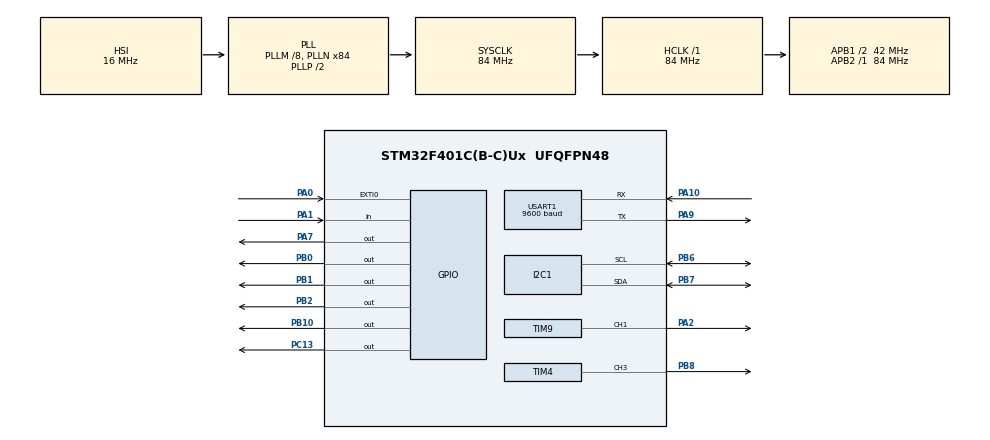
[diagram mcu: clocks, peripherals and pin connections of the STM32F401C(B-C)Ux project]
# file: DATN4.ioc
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Mcu.Family=STM32F4
Mcu.Name=STM32F401C(B-C)Ux
Mcu.Package=UFQFPN48
NVIC.EXTI0_IRQn=true\:0\:0\:false\:false\:true\:true\:true
NVIC.PriorityGroup=NVIC_PRIORITYGROUP_4
NVIC.TIM1_UP_TIM10_IRQn=true\:0\:0\:false\:false\:true\:true\:true
PA0-WKUP.Signal=GPXTI0
PA1.Signal=GPIO_Input
PA10.Mode=Asynchronous
PA10.Signal=USART1_RX
PA2.Signal=S_TIM9_CH1
PA7.Signal=GPIO_Output
PA9.Mode=Asynchronous
PA9.Signal=USART1_TX
PB0.Signal=GPIO_Output
PB1.Signal=GPIO_Output
PB10.Signal=GPIO_Output
PB2.Signal=GPIO_Output
PB6.Mode=I2C
PB6.Signal=I2C1_SCL
PB7.Mode=I2C
PB7.Signal=I2C1_SDA
PB8.Signal=S_TIM4_CH3
PC13-ANTI_TAMP.Signal=GPIO_Output
PH0\ -\ OSC_IN.Mode=HSE-External-Oscillator
PH0\ -\ OSC_IN.Signal=RCC_OSC_IN
PH1\ -\ OSC_OUT.Mode=HSE-External-Oscillator
PH1\ -\ OSC_OUT.Signal=RCC_OSC_OUT
ProjectManager.HeapSize=0x200
ProjectManager.StackSize=0x400
ProjectManager.TargetToolchain=MDK-ARM V5.27
RCC.48MHZClocksFreq_Value=42000000
RCC.AHBFreq_Value=84000000
RCC.APB1CLKDivider=RCC_HCLK_DIV2
RCC.APB1Freq_Value=42000000
RCC.APB1TimFreq_Value=84000000
RCC.APB2Freq_Value=84000000
RCC.APB2TimFreq_Value=84000000
RCC.CortexFreq_Value=84000000
RCC.HCLKFreq_Value=84000000
RCC.HSE_VALUE=25000000
RCC.HSI_VALUE=16000000
RCC.LSE_VALUE=32768
RCC.PLLM=8
RCC.PLLN=84
RCC.SYSCLKFreq_VALUE=84000000
RCC.SYSCLKSource=RCC_SYSCLKSOURCE_PLLCLK
RCC.VCOOutputFreq_Value=168000000
SH.S_TIM4_CH3.0=TIM4_CH3,PWM Generation3 CH3
SH.S_TIM9_CH1.0=TIM9_CH1,PWM Generation1 CH1
TIM10.AutoReloadPreload=TIM_AUTORELOAD_PRELOAD_ENABLE
TIM10.Period=99
TIM10.Prescaler=8400
TIM4.Channel-PWM\ Generation3\ CH3=TIM_CHANNEL_3
TIM4.Period=999
TIM4.Prescaler=19
TIM9.Channel-PWM\ Generation1\ CH1=TIM_CHANNEL_1
TIM9.Period=999
TIM9.Prescaler=19
USART1.BaudRate=9600
USART1.VirtualMode=VM_ASYNC
VP_TIM10_VS_ClockSourceINT.Mode=Enable_Timer
VP_TIM4_VS_ClockSourceINT.Mode=Internal
VP_TIM9_VS_ClockSourceINT.Mode=Internal
board=custom

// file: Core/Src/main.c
/* USER CODE BEGIN Header */
/**
  ******************************************************************************
  * @file           : main.c
  * @brief          : Main program body
  ******************************************************************************
  * @attention
  *
  * <h2><center>&copy; Copyright (c) 2021 STMicroelectronics.
  * All rights reserved.</center></h2>
  *
  * This software component is licensed by ST under BSD 3-Clause license,
  * the "License"; You may not use this file except in compliance with the
  * License. You may obtain a copy of the License at:
  *                        opensource.org/licenses/BSD-3-Clause
  *
  ******************************************************************************
  */
/* USER CODE END Header */
#include "main.h"

/* USER CODE BEGIN Includes */
#include "stdio.h"
#include "stdlib.h"
#include "math.h"
/* USER CODE END Includes */

/* USER CODE BEGIN PD */

   /*MPU6050_REGISTERS*/
#define MPU6050_ADDR 0xD0     /*Decive Addr*/
#define SMPLRT_DIV_REG 0x19   /*1khz*/
#define GYRO_CONFIG_REG 0x1B  /*Cau hinh Gryro*/
#define ACCEL_CONFIG_REG 0x1C /*Cau hinh Acc*/
#define ACCEL_XOUT_H_REG 0x3B
#define GYRO_XOUT_H_REG 0x43
#define PWR_MGMT_1_REG 0x6B    /*Wake up*/
#define WHO_AM_I_REG 0x75     /*check device*/

/* USER CODE END PD */

I2C_HandleTypeDef hi2c1;

TIM_HandleTypeDef htim4;
TIM_HandleTypeDef htim9;
TIM_HandleTypeDef htim10;

UART_HandleTypeDef huart1;

void SystemClock_Config(void);
static void MX_GPIO_Init(void);
static void MX_TIM9_Init(void);
static void MX_TIM10_Init(void);
static void MX_I2C1_Init(void);
static void MX_USART1_UART_Init(void);
static void MX_TIM4_Init(void);
/* USER CODE BEGIN PFP */
   /*Bluetooth Var*/
	char snum[4];
	char snum1[4];
	char str[] = { "/" };

   /*READ_DATA_MPU_VAR*/
int16_t Accel_X_RAW = 0 ;
int16_t Accel_Y_RAW = 0;
int16_t Accel_Z_RAW = 0;

int16_t Gyro_X_RAW = 0;
int16_t Gyro_Y_RAW = 0;
int16_t Gyro_Z_RAW = 0;

float Gx, Gy, Gz;
float Ax, Ay, Az;

float angle_roll_acc, angle_pitch_acc;

   /*KALMAN_FITLER*/
float Q_angle = 0.001;
float Q_gyro = 0.003;
float R_angle = 0.5;
char C_0 = 1;
float dt = 0.01; // sampling time 10ms
float K1 = 0.05;

float K_0,K_1,t_0,t_1;
float angle_err;
float gyro_bias;    // Gyroscope Drift
float angle;

float Pdot[4] = { 0, 0, 0, 0};
float P[2][2] = {{ 1, 0 }, { 0, 1 }};
float  PCt_0, PCt_1, E;

 /*KALMAN_FITLER_2*/
float K_0_x,K_1_x,t_0_x,t_1_x;
float angle_err1;
float gyro_bias1;    // Gyroscope Drift

float angle1;

float Pdot_1[4] = { 0, 0, 0, 0};
float P_1[2][2] = {{ 1, 0 }, { 0, 1 }};
float  PCt_0x, PCt_1x, Ex;

   /*PID ANGEL CONTROL*/
int PID_PWM_ANGEL;
int PID_PWM_ANGEL1;

float ErrorA;
float Pre_ErrorA;

float ErrorA1;
float Pre_ErrorA1;

float I_part_angel;
float I_part_angel1;

      /*Sampling time*/
#define sammpling_time_angel  0.01f;
#define inv_sammpling_time_angel 100;

#define sammpling_time_speed 0.04f
#define inv_sammpling_time_speed  25;

      /* PID Angel*/
float Set_Angel =	-3.1; //5.1

float Kp_Angel = 125  	;  //dc1: 360
float Ki_Angel = 	0.01;
float Kd_Angel = -0.02;//0.27

float Set_Speed = 0;

float Kp_Speed = 22;   //dc1: 120  //dc2: 110
float Ki_Speed = 	12;  //5
float Kd_Speed = 	0.0001;

/*********************************************************/

    /*PID Whell*/
float Set_Angel1 = -0.5;
float Kp_Angel1 = 90;
float Ki_Angel1 = 0.0001;
float Kd_Angel1 = 0.04;

/*********************************************************/

   /*SPEED VAR*/
int rw = 0;
int pulseCount = 0;

int Pulse;
int rwPulse;

float speeds_filterold=0;
float speeds_filter;
float Speed;

float I_part_speed;
float Pre_ErrorSP;
float ErrorSP;

int PID_PWM_SPEED;

   /*PWM OUTPUT*/
int cl;

int PWM_OUT ;
int RE_PWM_OUT ;

int PWM_OUT1 ;
int RE_PWM_OUT1 ;

uint8_t  receive_data;
/* USER CODE END PFP */

/* USER CODE BEGIN 0 */

    /*READ DATA*/
void MPU6050_Init (void)
  {
	uint8_t check;
	uint8_t Data;

	HAL_I2C_Mem_Read (&hi2c1, MPU6050_ADDR,WHO_AM_I_REG,1, &check, 1, 1000); //check cam bien

	if (check == 0x68) //dia chi co ban cua cam bien 0x68( 110100X x lа muc logic tai chan AD0)
	{
		Data = 0x00;
		HAL_I2C_Mem_Write(&hi2c1, MPU6050_ADDR, PWR_MGMT_1_REG, 1,&Data, 1, 1000); // Danh thuc thiet bi

		Data = 0x07;
		HAL_I2C_Mem_Write(&hi2c1, MPU6050_ADDR, SMPLRT_DIV_REG, 1, &Data, 1, 1000); // cau hinh tan so trich mau tu cam bien ve thanh ghi (1Khz)

		Data = 0x00;
		HAL_I2C_Mem_Write(&hi2c1, MPU6050_ADDR, ACCEL_CONFIG_REG, 1, &Data, 1, 1000); //cau hinh cam bien gia toc ke.

		Data = 0x00;
		HAL_I2C_Mem_Write(&hi2c1, MPU6050_ADDR, GYRO_CONFIG_REG, 1, &Data, 1, 1000); // cau hinh con quay hoi chuyen.

		 HAL_GPIO_WritePin(GPIOC, GPIO_PIN_13, GPIO_PIN_RESET);
	}
}

void MPU6050_Read_Data (void) /*note*/
{

	uint8_t Rec_Data_Acc[6];
	HAL_I2C_Mem_Read (&hi2c1, MPU6050_ADDR, ACCEL_XOUT_H_REG, 1, Rec_Data_Acc, 6, 1000);

	Accel_X_RAW = (int16_t)(Rec_Data_Acc[0] << 8 | Rec_Data_Acc [1]);
	Accel_Y_RAW = (int16_t)(Rec_Data_Acc[2] << 8 | Rec_Data_Acc [3]);
	Accel_Z_RAW = (int16_t)(Rec_Data_Acc[4] << 8 | Rec_Data_Acc [5]);

	Ax = Accel_X_RAW/16384.0; /*Datasheet*/
	Ay = Accel_Y_RAW/16384.0;
	Az = Accel_Z_RAW/16384.0;

	uint8_t Rec_Data_1_Gyro[6];
	HAL_I2C_Mem_Read (&hi2c1, MPU6050_ADDR, GYRO_XOUT_H_REG, 1, Rec_Data_1_Gyro, 6, 1000);

	Gyro_X_RAW = (int16_t)(Rec_Data_1_Gyro[0] << 8 | Rec_Data_1_Gyro [1]);
	Gyro_Y_RAW = (int16_t)(Rec_Data_1_Gyro[2] << 8 | Rec_Data_1_Gyro [3]);
	Gyro_Z_RAW = (int16_t)(Rec_Data_1_Gyro[4] << 8 | Rec_Data_1_Gyro [5]);

	Gx =  Gyro_X_RAW/131.0;
	Gy =  Gyro_Y_RAW/131.0;

}

/**/
/**/

   /*KALMAN FILTER*/
void Kalman_Filter(double angle_m, double gyro_m)
{
		/*ESTIMATES PERIOD*/
	angle += (gyro_m - gyro_bias) * dt;   /*Cap nhat goc uoc luong ban dau*/

	P[0][0] += (Q_angle - P[0][1] - P[1][0]) * dt; /*Du doan buoc dau ma tran covariance, ma tran dac trung cho kha nang du doan sai so*/
  P[0][1] -= P[1][1] * dt;
  P[1][0] -= P[1][1] * dt;
  P[1][1] += Q_gyro * dt;

	  /*UPDATE KALMAN FILTER VALUE*/
  angle_err = angle_m - angle; /*Tinh sai so goc uoc luong dua vao goc cam bien vs goc uoc luong truoc*/

  E = R_angle + P[0][0];  /*Uoc tinh sai so co the xay ra*/

	PCt_0 = C_0 * P[0][0];
  PCt_1 = C_0 * P[1][0];

  K_0 = PCt_0 / E;
  K_1 = PCt_1 / E;

  t_0 = P[0][0];
  t_1 = P[0][1];

  P[0][0] -= K_0 * t_0;  /*Cap nhat uoc tinh ma tran covariance*/
  P[0][1] -= K_0 * t_1;
  P[1][0] -= K_1 * t_0;
  P[1][1] -= K_1 * t_1;

  angle += K_0 * angle_err;     /*Cap nhat lai goc uoc luong sau loc.*/
	gyro_bias += K_1 * angle_err; /*Cap nhat lai sai so gyro_bias (giua gia tri do va gia tri dung nhat). */

}

void Kalman_Filter_1(double angle_m, double gyro_m)
{
		/*ESTIMATES PERIOD*/
	angle1 += (gyro_m - gyro_bias1) * dt;

  P_1[0][0] +=  ( Q_angle - P_1[0][1] - P_1[1][0] ) * dt;
  P_1[0][1] -=  P_1[1][1] * dt;
  P_1[1][0] -=  P_1[1][1] * dt;
  P_1[1][1] +=  Q_gyro * dt;

	 /*UPDATE KALMAN FILTER VALUE*/
	angle_err1 = angle_m - angle1;

  Ex = R_angle + P_1[0][0];

	PCt_0x = C_0 * P_1[0][0];
  PCt_1x = C_0 * P_1[1][0];

  K_0_x = PCt_0x / Ex;
  K_1_x = PCt_1x / Ex;

  t_0_x = P_1[0][0];
  t_1_x = P_1[0][1];

  P_1[0][0] -= K_0_x * t_0_x;
  P_1[0][1] -= K_0_x * t_1_x;
  P_1[1][0] -= K_1_x * t_0_x;
  P_1[1][1] -= K_1_x * t_1_x;

	angle1 += K_0_x * angle_err1;
  gyro_bias1 += K_1_x * angle_err1;
}
/**/
/**/

   /*Caculate Angel*/
void Angle_Aalculate(void)
{
	 angle_pitch_acc = -atan((float)Ax / Az) * 57.296; // Y
	 angle_roll_acc = atan((float)Ay /  Az) * 57.296; //X

   Kalman_Filter( angle_pitch_acc, Gy);
   Kalman_Filter_1( angle_roll_acc, Gx);
}
/**/
/**/

   /*PD Control*/
void PID_Angel_Control(void)
{
	ErrorA = Set_Angel - angle; /*Ti le*/
	/*****/
	I_part_angel = I_part_angel + ErrorA * sammpling_time_angel; /*Tich phan*/
	/*****/
  PID_PWM_ANGEL = ( Kp_Angel*ErrorA )  + ( Ki_Angel*I_part_angel) + Kd_Angel*( ErrorA - Pre_ErrorA) * inv_sammpling_time_angel;
	/*****/
	Pre_ErrorA = ErrorA;
}

void PID_Control_wheel(void)
{

  ErrorA1 = Set_Angel1 - angle1;
	/*****/
	I_part_angel1 = I_part_angel1 + ErrorA1 * sammpling_time_angel;
	/*****/
  PID_PWM_ANGEL1 = ( Kp_Angel1*ErrorA1)  + ( Ki_Angel1*I_part_angel1) + Kd_Angel1*( ErrorA1 - Pre_ErrorA1) * inv_sammpling_time_angel;
	/*****/
	Pre_ErrorA1 = ErrorA1;

	if( PID_PWM_ANGEL1 > 999 ) PID_PWM_ANGEL1 = 999;
	else if( PID_PWM_ANGEL1 < -999 ) PID_PWM_ANGEL1 = -999;
}
/**/
/**/

    /*SPEED*/
void Count_Pulse(void)  // theo chu ky PID speed (tong do lech xung cua 4 lan lay mau)
{
  rwPulse += Pulse;
  Pulse = 0;
}
void PID_Speed_Control(void)
{
   Speed = rwPulse * 6.8181;
/* xung/40ms * 25 = xung/1s

	xung1/s * 60 = xung/phut

	xung/phut chia do phan giai = vong/phut.

	(rwPulse * 25 * 60) / 220 = vong / phut.

	25*60/220 = 6.8181 => rwPulse * 6.8181 = vong / phut
*/
  rwPulse = 0;

  speeds_filter = ( speeds_filterold * 0.7f ) + ( Speed * 0.3f );
  speeds_filterold = speeds_filter;

	ErrorSP = Set_Speed - speeds_filter;

	I_part_speed = I_part_speed + (Set_Speed - speeds_filter) * sammpling_time_speed ;

	PID_PWM_SPEED = ( Kp_Speed * ErrorSP ) + ( Ki_Speed * I_part_speed ) + Kd_Speed*( ErrorSP - Pre_ErrorSP )* inv_sammpling_time_speed;

	Pre_ErrorSP = ErrorSP;
}

/**/
/**/

   /*PWM OUTPUT*/
void PWM_OUTPUT(void)
{
   PWM_OUT = PID_PWM_ANGEL  +  PID_PWM_SPEED;

	 if( PWM_OUT > 0)
		{
		HAL_GPIO_WritePin(GPIOB, GPIO_PIN_1, GPIO_PIN_SET);
		HAL_GPIO_WritePin(GPIOB, GPIO_PIN_0, GPIO_PIN_RESET);
	  if(PWM_OUT > 999) PWM_OUT = 999;
	  __HAL_TIM_SetCompare(&htim9, TIM_CHANNEL_1, PWM_OUT );
		}
	else if(PWM_OUT < 0)
		{
		RE_PWM_OUT = -PWM_OUT;
		HAL_GPIO_WritePin(GPIOB, GPIO_PIN_1, GPIO_PIN_RESET);
		HAL_GPIO_WritePin(GPIOB, GPIO_PIN_0, GPIO_PIN_SET);
	  if (RE_PWM_OUT > 999 ) RE_PWM_OUT = 999;
		__HAL_TIM_SetCompare(&htim9, TIM_CHANNEL_1, RE_PWM_OUT);
		}
}

void PWM_OUTPUT_wheel(void)
{
   PWM_OUT1 =  PID_PWM_ANGEL1;

	 if( PWM_OUT1 > 0)
		{
		HAL_GPIO_WritePin(GPIOB, GPIO_PIN_10, GPIO_PIN_SET);
		HAL_GPIO_WritePin(GPIOB, GPIO_PIN_2, GPIO_PIN_RESET);
	  if(PWM_OUT1 > 999) PWM_OUT1 = 999;
	  __HAL_TIM_SetCompare(&htim4, TIM_CHANNEL_3, PWM_OUT1 );
		}
	else if(PWM_OUT1 < 0)
		{
		RE_PWM_OUT1 = -PWM_OUT1;
		HAL_GPIO_WritePin(GPIOB, GPIO_PIN_10, GPIO_PIN_RESET);
		HAL_GPIO_WritePin(GPIOB, GPIO_PIN_2, GPIO_PIN_SET);
	  if (RE_PWM_OUT1 > 999 ) RE_PWM_OUT1 = 999;
		__HAL_TIM_SetCompare(&htim4, TIM_CHANNEL_3, RE_PWM_OUT1);
		}
}
/**/
/**/

    /*Bluetooth*/
void Bluetooth_SPP(void)
{
    HAL_UART_Receive(&huart1,&receive_data,sizeof(receive_data),100);

		if( receive_data == 'A' && receive_data != 'C' )
		{
		Set_Speed = -3;
    }
	  if( receive_data == 'B' && receive_data != 'C' )
		{
	    Set_Speed = 3;
    }
		if( receive_data == 'C' && receive_data != 'B' && receive_data != 'A')
		{
	    Set_Speed  = 0  ;
    }

		sprintf(snum,"%f",Speed);
    HAL_UART_Transmit(&huart1,(uint8_t *)&snum,sizeof(Speed),100);
    HAL_UART_Transmit(&huart1,(uint8_t *)&str,sizeof(str),100);

		sprintf(snum1,"%f",angle);
    HAL_UART_Transmit(&huart1,(uint8_t *)&snum1,sizeof(snum1),100);
		HAL_UART_Transmit(&huart1,(uint8_t *)&str,sizeof(str),100);
}

/* USER CODE END 0 */

int main(void)
{

  /* MCU Configuration--------------------------------------------------------*/

  /* Reset of all peripherals, Initializes the Flash interface and the Systick. */
  HAL_Init();

  /* Configure the system clock */
  SystemClock_Config();

  /* Initialize all configured peripherals */
  MX_GPIO_Init();
  MX_TIM9_Init();
  MX_TIM10_Init();
  MX_I2C1_Init();
  MX_USART1_UART_Init();
  MX_TIM4_Init();
  /* USER CODE BEGIN 2 */
	MPU6050_Init();

  HAL_TIM_Base_Start_IT(&htim10);

	HAL_TIM_PWM_Start(&htim4, TIM_CHANNEL_3);
	HAL_TIM_PWM_Start(&htim9, TIM_CHANNEL_1);

//	HAL_UART_Receive_DMA(&huart1,&receive_data,1);

  /* USER CODE END 2 */

  /* Infinite loop */
  while (1)
  {

    /* USER CODE BEGIN 3 */
	 Bluetooth_SPP();  HAL_Delay(300);

	 if(angle > 45 || angle < -45 || angle1 > 45 || angle1 < -45 )
	 {
	 HAL_GPIO_WritePin(GPIOA, GPIO_PIN_7, GPIO_PIN_RESET);
	 }
	 else HAL_GPIO_WritePin(GPIOA, GPIO_PIN_7, GPIO_PIN_SET);
  }
  /* USER CODE END 3 */
}

void SystemClock_Config(void)
{
  RCC_OscInitTypeDef RCC_OscInitStruct = {0};
  RCC_ClkInitTypeDef RCC_ClkInitStruct = {0};

  /** Configure the main internal regulator output voltage
  */
  __HAL_RCC_PWR_CLK_ENABLE();
  __HAL_PWR_VOLTAGESCALING_CONFIG(PWR_REGULATOR_VOLTAGE_SCALE2);
  /** Initializes the RCC Oscillators according to the specified parameters
  * in the RCC_OscInitTypeDef structure.
  */
  RCC_OscInitStruct.OscillatorType = RCC_OSCILLATORTYPE_HSI;
  RCC_OscInitStruct.HSIState = RCC_HSI_ON;
  RCC_OscInitStruct.HSICalibrationValue = RCC_HSICALIBRATION_DEFAULT;
  RCC_OscInitStruct.PLL.PLLState = RCC_PLL_ON;
  RCC_OscInitStruct.PLL.PLLSource = RCC_PLLSOURCE_HSI;
  RCC_OscInitStruct.PLL.PLLM = 8;
  RCC_OscInitStruct.PLL.PLLN = 84;
  RCC_OscInitStruct.PLL.PLLP = RCC_PLLP_DIV2;
  RCC_OscInitStruct.PLL.PLLQ = 4;
  if (HAL_RCC_OscConfig(&RCC_OscInitStruct) != HAL_OK)
  {
    Error_Handler();
  }
  /** Initializes the CPU, AHB and APB buses clocks
  */
  RCC_ClkInitStruct.ClockType = RCC_CLOCKTYPE_HCLK|RCC_CLOCKTYPE_SYSCLK
                              |RCC_CLOCKTYPE_PCLK1|RCC_CLOCKTYPE_PCLK2;
  RCC_ClkInitStruct.SYSCLKSource = RCC_SYSCLKSOURCE_PLLCLK;
  RCC_ClkInitStruct.AHBCLKDivider = RCC_SYSCLK_DIV1;
  RCC_ClkInitStruct.APB1CLKDivider = RCC_HCLK_DIV2;
  RCC_ClkInitStruct.APB2CLKDivider = RCC_HCLK_DIV1;

  if (HAL_RCC_ClockConfig(&RCC_ClkInitStruct, FLASH_LATENCY_2) != HAL_OK)
  {
    Error_Handler();
  }
}

static void MX_I2C1_Init(void)
{

  hi2c1.Instance = I2C1;
  hi2c1.Init.ClockSpeed = 100000;
  hi2c1.Init.DutyCycle = I2C_DUTYCYCLE_2;
  hi2c1.Init.OwnAddress1 = 0;
  hi2c1.Init.AddressingMode = I2C_ADDRESSINGMODE_7BIT;
  hi2c1.Init.DualAddressMode = I2C_DUALADDRESS_DISABLE;
  hi2c1.Init.OwnAddress2 = 0;
  hi2c1.Init.GeneralCallMode = I2C_GENERALCALL_DISABLE;
  hi2c1.Init.NoStretchMode = I2C_NOSTRETCH_DISABLE;
  if (HAL_I2C_Init(&hi2c1) != HAL_OK)
  {
    Error_Handler();
  }

}

static void MX_TIM4_Init(void)
{

  TIM_ClockConfigTypeDef sClockSourceConfig = {0};
  TIM_MasterConfigTypeDef sMasterConfig = {0};
  TIM_OC_InitTypeDef sConfigOC = {0};

  htim4.Instance = TIM4;
  htim4.Init.Prescaler = 19;
  htim4.Init.CounterMode = TIM_COUNTERMODE_UP;
  htim4.Init.Period = 999;
  htim4.Init.ClockDivision = TIM_CLOCKDIVISION_DIV1;
  htim4.Init.AutoReloadPreload = TIM_AUTORELOAD_PRELOAD_DISABLE;
  if (HAL_TIM_Base_Init(&htim4) != HAL_OK)
  {
    Error_Handler();
  }
  sClockSourceConfig.ClockSource = TIM_CLOCKSOURCE_INTERNAL;
  if (HAL_TIM_ConfigClockSource(&htim4, &sClockSourceConfig) != HAL_OK)
  {
    Error_Handler();
  }
  if (HAL_TIM_PWM_Init(&htim4) != HAL_OK)
  {
    Error_Handler();
  }
  sMasterConfig.MasterOutputTrigger = TIM_TRGO_RESET;
  sMasterConfig.MasterSlaveMode = TIM_MASTERSLAVEMODE_DISABLE;
  if (HAL_TIMEx_MasterConfigSynchronization(&htim4, &sMasterConfig) != HAL_OK)
  {
    Error_Handler();
  }
  sConfigOC.OCMode = TIM_OCMODE_PWM1;
  sConfigOC.Pulse = 0;
  sConfigOC.OCPolarity = TIM_OCPOLARITY_HIGH;
  sConfigOC.OCFastMode = TIM_OCFAST_DISABLE;
  if (HAL_TIM_PWM_ConfigChannel(&htim4, &sConfigOC, TIM_CHANNEL_3) != HAL_OK)
  {
    Error_Handler();
  }
  HAL_TIM_MspPostInit(&htim4);

}

static void MX_TIM9_Init(void)
{

  TIM_ClockConfigTypeDef sClockSourceConfig = {0};
  TIM_OC_InitTypeDef sConfigOC = {0};

  htim9.Instance = TIM9;
  htim9.Init.Prescaler = 19;
  htim9.Init.CounterMode = TIM_COUNTERMODE_UP;
  htim9.Init.Period = 999;
  htim9.Init.ClockDivision = TIM_CLOCKDIVISION_DIV1;
  htim9.Init.AutoReloadPreload = TIM_AUTORELOAD_PRELOAD_DISABLE;
  if (HAL_TIM_Base_Init(&htim9) != HAL_OK)
  {
    Error_Handler();
  }
  sClockSourceConfig.ClockSource = TIM_CLOCKSOURCE_INTERNAL;
  if (HAL_TIM_ConfigClockSource(&htim9, &sClockSourceConfig) != HAL_OK)
  {
    Error_Handler();
  }
  if (HAL_TIM_PWM_Init(&htim9) != HAL_OK)
  {
    Error_Handler();
  }
  sConfigOC.OCMode = TIM_OCMODE_PWM1;
  sConfigOC.Pulse = 0;
  sConfigOC.OCPolarity = TIM_OCPOLARITY_HIGH;
  sConfigOC.OCFastMode = TIM_OCFAST_DISABLE;
  if (HAL_TIM_PWM_ConfigChannel(&htim9, &sConfigOC, TIM_CHANNEL_1) != HAL_OK)
  {
    Error_Handler();
  }
  HAL_TIM_MspPostInit(&htim9);

}

static void MX_TIM10_Init(void)
{

  htim10.Instance = TIM10;
  htim10.Init.Prescaler = 8400;
  htim10.Init.CounterMode = TIM_COUNTERMODE_UP;
  htim10.Init.Period = 99;
  htim10.Init.ClockDivision = TIM_CLOCKDIVISION_DIV1;
  htim10.Init.AutoReloadPreload = TIM_AUTORELOAD_PRELOAD_ENABLE;
  if (HAL_TIM_Base_Init(&htim10) != HAL_OK)
  {
    Error_Handler();
  }

}

static void MX_USART1_UART_Init(void)
{

  huart1.Instance = USART1;
  huart1.Init.BaudRate = 9600;
  huart1.Init.WordLength = UART_WORDLENGTH_8B;
  huart1.Init.StopBits = UART_STOPBITS_1;
  huart1.Init.Parity = UART_PARITY_NONE;
  huart1.Init.Mode = UART_MODE_TX_RX;
  huart1.Init.HwFlowCtl = UART_HWCONTROL_NONE;
  huart1.Init.OverSampling = UART_OVERSAMPLING_16;
  if (HAL_UART_Init(&huart1) != HAL_OK)
  {
    Error_Handler();
  }

}

static void MX_GPIO_Init(void)
{
  GPIO_InitTypeDef GPIO_InitStruct = {0};

  /* GPIO Ports Clock Enable */
  __HAL_RCC_GPIOC_CLK_ENABLE();
  __HAL_RCC_GPIOH_CLK_ENABLE();
  __HAL_RCC_GPIOA_CLK_ENABLE();
  __HAL_RCC_GPIOB_CLK_ENABLE();

  /*Configure GPIO pin Output Level */
  HAL_GPIO_WritePin(GPIOC, GPIO_PIN_13, GPIO_PIN_RESET);

  /*Configure GPIO pin Output Level */
  HAL_GPIO_WritePin(GPIOA, GPIO_PIN_7, GPIO_PIN_RESET);

  /*Configure GPIO pin Output Level */
  HAL_GPIO_WritePin(GPIOB, GPIO_PIN_0|GPIO_PIN_1|GPIO_PIN_2|GPIO_PIN_10, GPIO_PIN_RESET);

  /*Configure GPIO pin : PC13 */
  GPIO_InitStruct.Pin = GPIO_PIN_13;
  GPIO_InitStruct.Mode = GPIO_MODE_OUTPUT_PP;
  GPIO_InitStruct.Pull = GPIO_NOPULL;
  GPIO_InitStruct.Speed = GPIO_SPEED_FREQ_LOW;
  HAL_GPIO_Init(GPIOC, &GPIO_InitStruct);

  /*Configure GPIO pin : PA0 */
  GPIO_InitStruct.Pin = GPIO_PIN_0;
  GPIO_InitStruct.Mode = GPIO_MODE_IT_RISING;
  GPIO_InitStruct.Pull = GPIO_NOPULL;
  HAL_GPIO_Init(GPIOA, &GPIO_InitStruct);

  /*Configure GPIO pin : PA1 */
  GPIO_InitStruct.Pin = GPIO_PIN_1;
  GPIO_InitStruct.Mode = GPIO_MODE_INPUT;
  GPIO_InitStruct.Pull = GPIO_NOPULL;
  HAL_GPIO_Init(GPIOA, &GPIO_InitStruct);

  /*Configure GPIO pin : PA7 */
  GPIO_InitStruct.Pin = GPIO_PIN_7;
  GPIO_InitStruct.Mode = GPIO_MODE_OUTPUT_PP;
  GPIO_InitStruct.Pull = GPIO_NOPULL;
  GPIO_InitStruct.Speed = GPIO_SPEED_FREQ_LOW;
  HAL_GPIO_Init(GPIOA, &GPIO_InitStruct);

  /*Configure GPIO pins : PB0 PB1 PB2 PB10 */
  GPIO_InitStruct.Pin = GPIO_PIN_0|GPIO_PIN_1|GPIO_PIN_2|GPIO_PIN_10;
  GPIO_InitStruct.Mode = GPIO_MODE_OUTPUT_PP;
  GPIO_InitStruct.Pull = GPIO_NOPULL;
  GPIO_InitStruct.Speed = GPIO_SPEED_FREQ_LOW;
  HAL_GPIO_Init(GPIOB, &GPIO_InitStruct);

  /* EXTI interrupt init*/
  HAL_NVIC_SetPriority(EXTI0_IRQn, 0, 0);
  HAL_NVIC_EnableIRQ(EXTI0_IRQn);

}

/* USER CODE BEGIN 4 */

void HAL_GPIO_EXTI_Callback(uint16_t GPIO_Pin)
{
  if(GPIO_Pin == GPIO_PIN_0)
	{
	    if( HAL_GPIO_ReadPin(GPIOA,GPIO_PIN_1)==0)  Pulse++;
      if( HAL_GPIO_ReadPin(GPIOA,GPIO_PIN_1)==1)	Pulse--;
	}
}
/***/
void HAL_TIM_PeriodElapsedCallback(TIM_HandleTypeDef *htim)
{
 if(htim == &htim10)
 {
   /*ANGEL*/
	MPU6050_Read_Data();
	Angle_Aalculate();

	/****************/

	PID_Angel_Control();
	PID_Control_wheel();

	  /*SPEED*/
	Count_Pulse();

	cl++;
	if(cl >= 4)
		{
		cl = 0;
		PID_Speed_Control();
		}
	 /*OUTPUT*/
	PWM_OUTPUT();
	PWM_OUTPUT_wheel();

 }
}

/***/
/***/
/***/
/* USER CODE END 4 */

void Error_Handler(void)
{
  __disable_irq();
  while (1)
  {
  }
}

/************************ (C) COPYRIGHT STMicroelectronics *****END OF FILE****/
